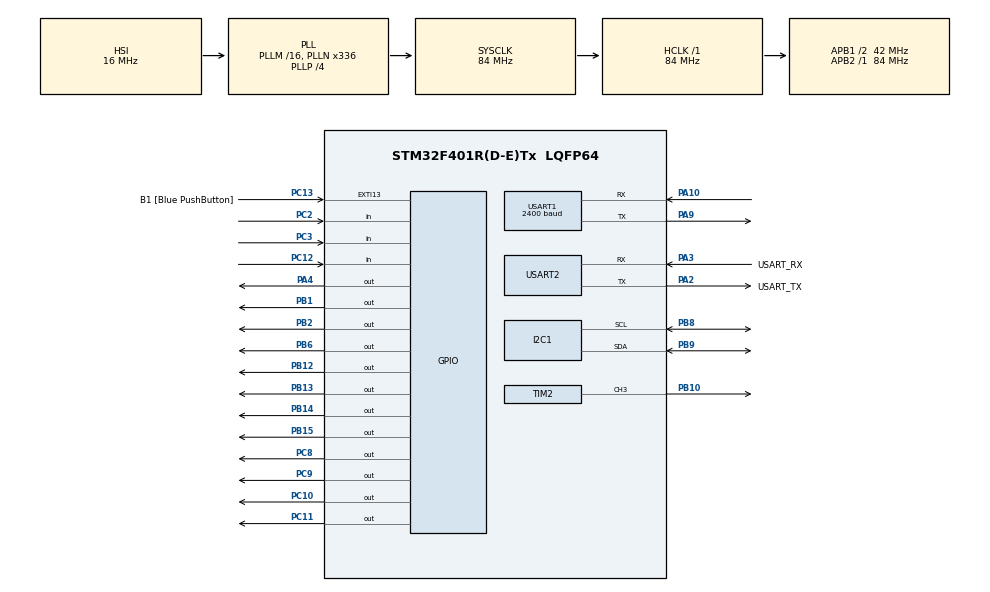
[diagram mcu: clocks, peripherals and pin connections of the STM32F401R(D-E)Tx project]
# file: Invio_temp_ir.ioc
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Mcu.Family=STM32F4
Mcu.Name=STM32F401R(D-E)Tx
Mcu.Package=LQFP64
NVIC.I2C1_EV_IRQn=true\:0\:0\:false\:false\:true\:true\:true\:true
NVIC.PriorityGroup=NVIC_PRIORITYGROUP_0
NVIC.TIM1_UP_TIM10_IRQn=true\:0\:0\:false\:false\:true\:true\:true\:true
NVIC.TIM3_IRQn=true\:0\:0\:false\:false\:true\:true\:true\:true
NVIC.USART1_IRQn=true\:0\:0\:false\:false\:true\:true\:true\:true
PA10.Mode=Asynchronous
PA10.Signal=USART1_RX
PA13.GPIO_Label=TMS
PA13.Mode=Serial_Wire
PA13.Signal=SYS_JTMS-SWDIO
PA14.GPIO_Label=TCK
PA14.Mode=Serial_Wire
PA14.Signal=SYS_JTCK-SWCLK
PA2.GPIO_Label=USART_TX
PA2.GPIO_Mode=GPIO_MODE_AF_PP
PA2.GPIO_PuPd=GPIO_NOPULL
PA2.GPIO_Speed=GPIO_SPEED_FREQ_LOW
PA2.Mode=Asynchronous
PA2.Signal=USART2_TX
PA3.GPIO_Label=USART_RX
PA3.GPIO_Mode=GPIO_MODE_AF_PP
PA3.GPIO_PuPd=GPIO_NOPULL
PA3.GPIO_Speed=GPIO_SPEED_FREQ_LOW
PA3.Mode=Asynchronous
PA3.Signal=USART2_RX
PA4.Signal=GPIO_Output
PA9.Mode=Asynchronous
PA9.Signal=USART1_TX
PB1.Signal=GPIO_Output
PB10.Signal=S_TIM2_CH3
PB12.Signal=GPIO_Output
PB13.Signal=GPIO_Output
PB14.Signal=GPIO_Output
PB15.Signal=GPIO_Output
PB2.Signal=GPIO_Output
PB3.GPIO_Label=SWO
PB3.Signal=SYS_JTDO-SWO
PB6.Signal=GPIO_Output
PB8.Mode=I2C
PB8.Signal=I2C1_SCL
PB9.Mode=I2C
PB9.Signal=I2C1_SDA
PC10.Signal=GPIO_Output
PC11.Signal=GPIO_Output
PC12.Signal=GPIO_Input
PC13-ANTI_TAMP.GPIO_Label=B1 [Blue PushButton]
PC13-ANTI_TAMP.GPIO_ModeDefaultEXTI=GPIO_MODE_IT_FALLING
PC13-ANTI_TAMP.GPIO_PuPd=GPIO_NOPULL
PC13-ANTI_TAMP.Signal=GPXTI13
PC14-OSC32_IN.Mode=LSE-External-Oscillator
PC14-OSC32_IN.Signal=RCC_OSC32_IN
PC15-OSC32_OUT.Mode=LSE-External-Oscillator
PC15-OSC32_OUT.Signal=RCC_OSC32_OUT
PC2.Signal=GPIO_Input
PC3.Signal=GPIO_Input
PC8.Signal=GPIO_Output
PC9.Signal=GPIO_Output
PH0\ -\ OSC_IN.Mode=HSE-External-Clock-Source
PH0\ -\ OSC_IN.Signal=RCC_OSC_IN
PH1\ -\ OSC_OUT.Mode=HSE-External-Clock-Source
PH1\ -\ OSC_OUT.Signal=RCC_OSC_OUT
ProjectManager.HeapSize=0x200
ProjectManager.StackSize=0x400
ProjectManager.TargetToolchain=STM32CubeIDE
RCC.48MHZClocksFreq_Value=48000000
RCC.AHBFreq_Value=84000000
RCC.APB1CLKDivider=RCC_HCLK_DIV2
RCC.APB1Freq_Value=42000000
RCC.APB1TimFreq_Value=84000000
RCC.APB2Freq_Value=84000000
RCC.APB2TimFreq_Value=84000000
RCC.CortexFreq_Value=84000000
RCC.HCLKFreq_Value=84000000
RCC.HSE_VALUE=8000000
RCC.HSI_VALUE=16000000
RCC.PLLN=336
RCC.PLLP=RCC_PLLP_DIV4
RCC.PLLQ=7
RCC.SYSCLKFreq_VALUE=84000000
RCC.SYSCLKSource=RCC_SYSCLKSOURCE_PLLCLK
RCC.VCOOutputFreq_Value=336000000
SH.S_TIM2_CH3.0=TIM2_CH3,PWM Generation3 CH3
TIM1.Period=10-1
TIM1.Prescaler=3500-1
TIM10.Period=4000-1
TIM10.Prescaler=84-1
TIM2.Channel-PWM\ Generation3\ CH3=TIM_CHANNEL_3
TIM2.Period=10-1
TIM2.Prescaler=221-1
TIM2.Pulse-PWM\ Generation3\ CH3=5
TIM3.Period=8400-1
TIM3.Prescaler=10000-1
USART1.BaudRate=2400
USART1.Parity=PARITY_ODD
USART1.VirtualMode=VM_ASYNC
USART2.VirtualMode=VM_ASYNC
VP_TIM10_VS_ClockSourceINT.Mode=Enable_Timer
VP_TIM1_VS_ClockSourceINT.Mode=Internal
VP_TIM2_VS_ClockSourceINT.Mode=Internal
VP_TIM3_VS_ClockSourceINT.Mode=Internal
board=NUCLEO-F401RE

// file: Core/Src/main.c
/* USER CODE BEGIN Header */
/**
  ******************************************************************************
  * @file           : main.c
  * @brief          : Main program body
  ******************************************************************************
  * @attention
  *
  * Copyright (c) 2023 STMicroelectronics.
  * All rights reserved.
  *
  * This software is licensed under terms that can be found in the LICENSE file
  * in the root directory of this software component.
  * If no LICENSE file comes with this software, it is provided AS-IS.
  *
  ******************************************************************************
  */
/* USER CODE END Header */
#include "main.h"

/* USER CODE BEGIN Includes */
#include <stdio.h>
#include "PMDB16_LCD.h"
/* USER CODE END Includes */

/* USER CODE BEGIN PD */
#define I2CADDRESS 0x48
/* USER CODE END PD */

I2C_HandleTypeDef hi2c1;

TIM_HandleTypeDef htim1;
TIM_HandleTypeDef htim2;
TIM_HandleTypeDef htim3;
TIM_HandleTypeDef htim10;

UART_HandleTypeDef huart1;
UART_HandleTypeDef huart2;

/* USER CODE BEGIN PV */
volatile uint8_t temp[6]={0};
volatile char temp_flag = 0;
volatile char send = 0;
volatile uint8_t buffer[2] = {0};
volatile int my_index = 0;
volatile uint8_t MSB = 0;
volatile uint8_t LSB = 0;

char stringa[64];

volatile char RX_byte = 0;
volatile float value = 0;
volatile int first_tx_byte = 0;
volatile char new_temp = 0;

/* USER CODE END PV */

void SystemClock_Config(void);
static void MX_GPIO_Init(void);
static void MX_USART2_UART_Init(void);
static void MX_TIM3_Init(void);
static void MX_TIM10_Init(void);
static void MX_USART1_UART_Init(void);
static void MX_TIM1_Init(void);
static void MX_TIM2_Init(void);
static void MX_I2C1_Init(void);

/* USER CODE BEGIN 0 */
void HAL_I2C_MasterRxCpltCallback(I2C_HandleTypeDef *hi2c)
{
	char message[32]={0};
	MSB = temp[4] & 0x00FF;
	LSB = (temp[5] >> 5) & 0b00000111;
	//sprintf(message, "%f\n", MSB+LSB);
	sprintf(message, "%d  %d\n", MSB, LSB);
	HAL_UART_Transmit(&huart2, message, 32, 1000);
	send=1;
}

void continue_TX_callback() {
	uint16_t bit = *(uint16_t*)buffer;
	bit = (bit >> my_index) & 1;
	my_index++;

	if (bit) {
		HAL_TIM_PWM_Stop(&htim2, TIM_CHANNEL_3);
		//HAL_GPIO_WritePin(GPIOA, GPIO_PIN_5, 0);
	} else {
		HAL_TIM_PWM_Start(&htim2, TIM_CHANNEL_3);
		//HAL_GPIO_WritePin(GPIOA, GPIO_PIN_5, 1);
	}

	if (my_index > 9) {
		HAL_TIM_Base_Stop(&htim1);
		HAL_GPIO_WritePin(GPIOA, GPIO_PIN_5, 0);
	}
}

void HAL_TIM_PeriodElapsedCallback(TIM_HandleTypeDef *htim) {
	if (htim == &htim3) temp_flag=1;
	else if (htim == &htim1) continue_TX_callback();
}

void HAL_UART_RxCpltCallback(UART_HandleTypeDef* huart) {
	if (huart != &huart1) return;

	//removing the parity bit (non lo faccio se ho messo dall'interfaccia grafica include
	//parity nel protocollo uart)
	//RX_byte = RX_byte & 0b01111111;
	int UART_length = snprintf(stringa, sizeof(stringa), "received: %d\n\r", RX_byte);
	HAL_UART_Transmit(&huart2, (uint8_t *)stringa, UART_length, 100);

	if((RX_byte & 0b01000000) == 0)
	{
		// we manually set, before the transmission, the seventh bit to 0 if we were
		// sending MSB, and 1 if we were sending LSB
		value = 0;
		value = RX_byte;
	}
	else
	{
		RX_byte = RX_byte & 0b00111111;
		value = value + (RX_byte >> 2)*0.5 +
						((RX_byte >> 1) & 0b001)*0.25 +
						(RX_byte & 0b001)*0.125;
		new_temp = 1;
	}
	HAL_UART_Receive_IT(&huart1, (uint8_t *)&RX_byte, 1);
}

void transmit_byte(uint8_t data) {
	HAL_GPIO_WritePin(GPIOA, GPIO_PIN_5, 1);

	buffer[0] = (data << 1); // 0000001P xxxxxxx0

	uint8_t parity = 0;
	for (int i = 0; i < 7; i++) {
		parity ^= (data >> i) & 1; // odd parity
	}

	buffer[1] = 0b10 | parity;

	my_index = 0;

	HAL_TIM_Base_Start_IT(&htim1);
}

void show_new_temp(float val)
{
	//int UART_length = snprintf(stringa, sizeof(stringa), "temp rec: %f\n\r", val);
	//HAL_UART_Transmit(&huart2, (uint8_t *)stringa, UART_length, 100);
	snprintf(stringa, sizeof(stringa), "temp rec: %f\n\r", val);
	lcd_println(stringa, 1);
}

/* USER CODE END 0 */

int main(void)
{

  /* MCU Configuration--------------------------------------------------------*/

  /* Reset of all peripherals, Initializes the Flash interface and the Systick. */
  HAL_Init();

  /* Configure the system clock */
  SystemClock_Config();

  /* Initialize all configured peripherals */
  MX_GPIO_Init();
  MX_USART2_UART_Init();
  MX_TIM3_Init();
  MX_TIM10_Init();
  MX_USART1_UART_Init();
  MX_TIM1_Init();
  MX_TIM2_Init();
  MX_I2C1_Init();
  /* USER CODE BEGIN 2 */

  int UART_length = snprintf(stringa, sizeof(stringa), "--- INIT ---\n\r");
  HAL_UART_Transmit(&huart2, (uint8_t *)stringa, UART_length, 100);
  lcd_initialize();
  lcd_clear();
  lcd_backlight_ON();

  HAL_UART_Receive_IT(&huart1, (uint8_t *)&RX_byte, 1);

  HAL_TIM_Base_Start_IT(&htim3);
  HAL_TIM_Base_Start_IT(&htim10);
  if(HAL_I2C_Master_Receive_IT(&hi2c1, I2CADDRESS << 1, temp, 6) != HAL_OK)
  			  HAL_UART_Transmit(&huart2, "ERROR IN RECEIVING", 32, 1000);
  /* USER CODE END 2 */

  /* Infinite loop */
  /* USER CODE BEGIN WHILE */
  while (1)
  {
	  if(temp_flag)
	  {
		  temp_flag = 0;
		  if(HAL_I2C_Master_Receive_IT(&hi2c1, I2CADDRESS << 1, temp, 6) != HAL_OK)
			  HAL_UART_Transmit(&huart2, "ERROR IN RECEIVING", 32, 1000);
	  }
	  if(send)
	  {
		  if(first_tx_byte == 0)
		  {
			  first_tx_byte = HAL_GetTick();
			  transmit_byte(MSB & 0b00111111);
		  }
		  else if(HAL_GetTick() > first_tx_byte+100)
		  {
			  send=0;
			  first_tx_byte=0;
			  transmit_byte(LSB | 0b01000000);
		  }
	  }
	  if(new_temp)
	  {
		  new_temp=0;
		  show_new_temp(value);
	  }

    /* USER CODE END WHILE */

  }
}

void SystemClock_Config(void)
{
  RCC_OscInitTypeDef RCC_OscInitStruct = {0};
  RCC_ClkInitTypeDef RCC_ClkInitStruct = {0};

  /** Configure the main internal regulator output voltage
  */
  __HAL_RCC_PWR_CLK_ENABLE();
  __HAL_PWR_VOLTAGESCALING_CONFIG(PWR_REGULATOR_VOLTAGE_SCALE2);

  /** Initializes the RCC Oscillators according to the specified parameters
  * in the RCC_OscInitTypeDef structure.
  */
  RCC_OscInitStruct.OscillatorType = RCC_OSCILLATORTYPE_HSI;
  RCC_OscInitStruct.HSIState = RCC_HSI_ON;
  RCC_OscInitStruct.HSICalibrationValue = RCC_HSICALIBRATION_DEFAULT;
  RCC_OscInitStruct.PLL.PLLState = RCC_PLL_ON;
  RCC_OscInitStruct.PLL.PLLSource = RCC_PLLSOURCE_HSI;
  RCC_OscInitStruct.PLL.PLLM = 16;
  RCC_OscInitStruct.PLL.PLLN = 336;
  RCC_OscInitStruct.PLL.PLLP = RCC_PLLP_DIV4;
  RCC_OscInitStruct.PLL.PLLQ = 7;
  if (HAL_RCC_OscConfig(&RCC_OscInitStruct) != HAL_OK)
  {
    Error_Handler();
  }

  /** Initializes the CPU, AHB and APB buses clocks
  */
  RCC_ClkInitStruct.ClockType = RCC_CLOCKTYPE_HCLK|RCC_CLOCKTYPE_SYSCLK
                              |RCC_CLOCKTYPE_PCLK1|RCC_CLOCKTYPE_PCLK2;
  RCC_ClkInitStruct.SYSCLKSource = RCC_SYSCLKSOURCE_PLLCLK;
  RCC_ClkInitStruct.AHBCLKDivider = RCC_SYSCLK_DIV1;
  RCC_ClkInitStruct.APB1CLKDivider = RCC_HCLK_DIV2;
  RCC_ClkInitStruct.APB2CLKDivider = RCC_HCLK_DIV1;

  if (HAL_RCC_ClockConfig(&RCC_ClkInitStruct, FLASH_LATENCY_2) != HAL_OK)
  {
    Error_Handler();
  }
}

static void MX_I2C1_Init(void)
{

  hi2c1.Instance = I2C1;
  hi2c1.Init.ClockSpeed = 100000;
  hi2c1.Init.DutyCycle = I2C_DUTYCYCLE_2;
  hi2c1.Init.OwnAddress1 = 0;
  hi2c1.Init.AddressingMode = I2C_ADDRESSINGMODE_7BIT;
  hi2c1.Init.DualAddressMode = I2C_DUALADDRESS_DISABLE;
  hi2c1.Init.OwnAddress2 = 0;
  hi2c1.Init.GeneralCallMode = I2C_GENERALCALL_DISABLE;
  hi2c1.Init.NoStretchMode = I2C_NOSTRETCH_DISABLE;
  if (HAL_I2C_Init(&hi2c1) != HAL_OK)
  {
    Error_Handler();
  }

}

static void MX_TIM1_Init(void)
{

  TIM_ClockConfigTypeDef sClockSourceConfig = {0};
  TIM_MasterConfigTypeDef sMasterConfig = {0};

  htim1.Instance = TIM1;
  htim1.Init.Prescaler = 3500-1;
  htim1.Init.CounterMode = TIM_COUNTERMODE_UP;
  htim1.Init.Period = 10-1;
  htim1.Init.ClockDivision = TIM_CLOCKDIVISION_DIV1;
  htim1.Init.RepetitionCounter = 0;
  htim1.Init.AutoReloadPreload = TIM_AUTORELOAD_PRELOAD_DISABLE;
  if (HAL_TIM_Base_Init(&htim1) != HAL_OK)
  {
    Error_Handler();
  }
  sClockSourceConfig.ClockSource = TIM_CLOCKSOURCE_INTERNAL;
  if (HAL_TIM_ConfigClockSource(&htim1, &sClockSourceConfig) != HAL_OK)
  {
    Error_Handler();
  }
  sMasterConfig.MasterOutputTrigger = TIM_TRGO_RESET;
  sMasterConfig.MasterSlaveMode = TIM_MASTERSLAVEMODE_DISABLE;
  if (HAL_TIMEx_MasterConfigSynchronization(&htim1, &sMasterConfig) != HAL_OK)
  {
    Error_Handler();
  }

}

static void MX_TIM2_Init(void)
{

  TIM_ClockConfigTypeDef sClockSourceConfig = {0};
  TIM_MasterConfigTypeDef sMasterConfig = {0};
  TIM_OC_InitTypeDef sConfigOC = {0};

  htim2.Instance = TIM2;
  htim2.Init.Prescaler = 221-1;
  htim2.Init.CounterMode = TIM_COUNTERMODE_UP;
  htim2.Init.Period = 10-1;
  htim2.Init.ClockDivision = TIM_CLOCKDIVISION_DIV1;
  htim2.Init.AutoReloadPreload = TIM_AUTORELOAD_PRELOAD_DISABLE;
  if (HAL_TIM_Base_Init(&htim2) != HAL_OK)
  {
    Error_Handler();
  }
  sClockSourceConfig.ClockSource = TIM_CLOCKSOURCE_INTERNAL;
  if (HAL_TIM_ConfigClockSource(&htim2, &sClockSourceConfig) != HAL_OK)
  {
    Error_Handler();
  }
  if (HAL_TIM_PWM_Init(&htim2) != HAL_OK)
  {
    Error_Handler();
  }
  sMasterConfig.MasterOutputTrigger = TIM_TRGO_RESET;
  sMasterConfig.MasterSlaveMode = TIM_MASTERSLAVEMODE_DISABLE;
  if (HAL_TIMEx_MasterConfigSynchronization(&htim2, &sMasterConfig) != HAL_OK)
  {
    Error_Handler();
  }
  sConfigOC.OCMode = TIM_OCMODE_PWM1;
  sConfigOC.Pulse = 5;
  sConfigOC.OCPolarity = TIM_OCPOLARITY_HIGH;
  sConfigOC.OCFastMode = TIM_OCFAST_DISABLE;
  if (HAL_TIM_PWM_ConfigChannel(&htim2, &sConfigOC, TIM_CHANNEL_3) != HAL_OK)
  {
    Error_Handler();
  }
  HAL_TIM_MspPostInit(&htim2);

}

static void MX_TIM3_Init(void)
{

  TIM_ClockConfigTypeDef sClockSourceConfig = {0};
  TIM_MasterConfigTypeDef sMasterConfig = {0};

  htim3.Instance = TIM3;
  htim3.Init.Prescaler = 10000-1;
  htim3.Init.CounterMode = TIM_COUNTERMODE_UP;
  htim3.Init.Period = 8400-1;
  htim3.Init.ClockDivision = TIM_CLOCKDIVISION_DIV1;
  htim3.Init.AutoReloadPreload = TIM_AUTORELOAD_PRELOAD_DISABLE;
  if (HAL_TIM_Base_Init(&htim3) != HAL_OK)
  {
    Error_Handler();
  }
  sClockSourceConfig.ClockSource = TIM_CLOCKSOURCE_INTERNAL;
  if (HAL_TIM_ConfigClockSource(&htim3, &sClockSourceConfig) != HAL_OK)
  {
    Error_Handler();
  }
  sMasterConfig.MasterOutputTrigger = TIM_TRGO_RESET;
  sMasterConfig.MasterSlaveMode = TIM_MASTERSLAVEMODE_DISABLE;
  if (HAL_TIMEx_MasterConfigSynchronization(&htim3, &sMasterConfig) != HAL_OK)
  {
    Error_Handler();
  }

}

static void MX_TIM10_Init(void)
{

  htim10.Instance = TIM10;
  htim10.Init.Prescaler = 84-1;
  htim10.Init.CounterMode = TIM_COUNTERMODE_UP;
  htim10.Init.Period = 4000-1;
  htim10.Init.ClockDivision = TIM_CLOCKDIVISION_DIV1;
  htim10.Init.AutoReloadPreload = TIM_AUTORELOAD_PRELOAD_DISABLE;
  if (HAL_TIM_Base_Init(&htim10) != HAL_OK)
  {
    Error_Handler();
  }

}

static void MX_USART1_UART_Init(void)
{

  huart1.Instance = USART1;
  huart1.Init.BaudRate = 2400;
  huart1.Init.WordLength = UART_WORDLENGTH_8B;
  huart1.Init.StopBits = UART_STOPBITS_1;
  huart1.Init.Parity = UART_PARITY_ODD;
  huart1.Init.Mode = UART_MODE_TX_RX;
  huart1.Init.HwFlowCtl = UART_HWCONTROL_NONE;
  huart1.Init.OverSampling = UART_OVERSAMPLING_16;
  if (HAL_UART_Init(&huart1) != HAL_OK)
  {
    Error_Handler();
  }

}

static void MX_USART2_UART_Init(void)
{

  huart2.Instance = USART2;
  huart2.Init.BaudRate = 115200;
  huart2.Init.WordLength = UART_WORDLENGTH_8B;
  huart2.Init.StopBits = UART_STOPBITS_1;
  huart2.Init.Parity = UART_PARITY_NONE;
  huart2.Init.Mode = UART_MODE_TX_RX;
  huart2.Init.HwFlowCtl = UART_HWCONTROL_NONE;
  huart2.Init.OverSampling = UART_OVERSAMPLING_16;
  if (HAL_UART_Init(&huart2) != HAL_OK)
  {
    Error_Handler();
  }

}

static void MX_GPIO_Init(void)
{
  GPIO_InitTypeDef GPIO_InitStruct = {0};

  /* GPIO Ports Clock Enable */
  __HAL_RCC_GPIOC_CLK_ENABLE();
  __HAL_RCC_GPIOH_CLK_ENABLE();
  __HAL_RCC_GPIOA_CLK_ENABLE();
  __HAL_RCC_GPIOB_CLK_ENABLE();

  /*Configure GPIO pin Output Level */
  HAL_GPIO_WritePin(GPIOA, GPIO_PIN_4, GPIO_PIN_RESET);

  /*Configure GPIO pin Output Level */
  HAL_GPIO_WritePin(GPIOB, GPIO_PIN_1|GPIO_PIN_2|GPIO_PIN_12|GPIO_PIN_13
                          |GPIO_PIN_14|GPIO_PIN_15|GPIO_PIN_6, GPIO_PIN_RESET);

  /*Configure GPIO pin Output Level */
  HAL_GPIO_WritePin(GPIOC, GPIO_PIN_8|GPIO_PIN_9|GPIO_PIN_10|GPIO_PIN_11, GPIO_PIN_RESET);

  /*Configure GPIO pin : B1_Pin */
  GPIO_InitStruct.Pin = B1_Pin;
  GPIO_InitStruct.Mode = GPIO_MODE_IT_FALLING;
  GPIO_InitStruct.Pull = GPIO_NOPULL;
  HAL_GPIO_Init(B1_GPIO_Port, &GPIO_InitStruct);

  /*Configure GPIO pins : PC2 PC3 PC12 */
  GPIO_InitStruct.Pin = GPIO_PIN_2|GPIO_PIN_3|GPIO_PIN_12;
  GPIO_InitStruct.Mode = GPIO_MODE_INPUT;
  GPIO_InitStruct.Pull = GPIO_NOPULL;
  HAL_GPIO_Init(GPIOC, &GPIO_InitStruct);

  /*Configure GPIO pin : PA4 */
  GPIO_InitStruct.Pin = GPIO_PIN_4;
  GPIO_InitStruct.Mode = GPIO_MODE_OUTPUT_PP;
  GPIO_InitStruct.Pull = GPIO_NOPULL;
  GPIO_InitStruct.Speed = GPIO_SPEED_FREQ_LOW;
  HAL_GPIO_Init(GPIOA, &GPIO_InitStruct);

  /*Configure GPIO pins : PB1 PB2 PB12 PB13
                           PB14 PB15 PB6 */
  GPIO_InitStruct.Pin = GPIO_PIN_1|GPIO_PIN_2|GPIO_PIN_12|GPIO_PIN_13
                          |GPIO_PIN_14|GPIO_PIN_15|GPIO_PIN_6;
  GPIO_InitStruct.Mode = GPIO_MODE_OUTPUT_PP;
  GPIO_InitStruct.Pull = GPIO_NOPULL;
  GPIO_InitStruct.Speed = GPIO_SPEED_FREQ_LOW;
  HAL_GPIO_Init(GPIOB, &GPIO_InitStruct);

  /*Configure GPIO pins : PC8 PC9 PC10 PC11 */
  GPIO_InitStruct.Pin = GPIO_PIN_8|GPIO_PIN_9|GPIO_PIN_10|GPIO_PIN_11;
  GPIO_InitStruct.Mode = GPIO_MODE_OUTPUT_PP;
  GPIO_InitStruct.Pull = GPIO_NOPULL;
  GPIO_InitStruct.Speed = GPIO_SPEED_FREQ_LOW;
  HAL_GPIO_Init(GPIOC, &GPIO_InitStruct);

}

void Error_Handler(void)
{
  __disable_irq();
  while (1)
  {
  }
}
